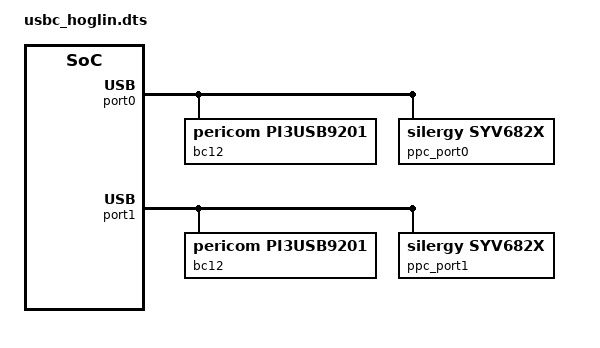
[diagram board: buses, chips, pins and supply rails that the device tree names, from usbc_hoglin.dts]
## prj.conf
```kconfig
# Copyright 2021 The Chromium OS Authors. All rights reserved.
# Use of this source code is governed by a BSD-style license that can be
# found in the LICENSE file.

CONFIG_CROS_EC=y
CONFIG_SHIMMED_TASKS=y
CONFIG_PLATFORM_EC=y
CONFIG_PLATFORM_EC_BRINGUP=y
CONFIG_PLATFORM_EC_EXTPOWER_GPIO=y
CONFIG_PLATFORM_EC_SWITCH=y
CONFIG_PLATFORM_EC_LID_SWITCH=y
CONFIG_PLATFORM_EC_BACKLIGHT_LID=y
CONFIG_PLATFORM_EC_POWER_BUTTON=y
CONFIG_PLATFORM_EC_CBI_GPIO=y
CONFIG_I2C=y
CONFIG_KERNEL_SHELL=y
CONFIG_PLATFORM_EC_BOARD_RESET_AFTER_POWER_ON=y

# Shell history and tab autocompletion (for convenience)
CONFIG_SHELL_HELP=y
CONFIG_SHELL_HISTORY=y
CONFIG_SHELL_TAB=y
CONFIG_SHELL_TAB_AUTOCOMPLETION=y

# Miscellaneous configs
CONFIG_PLATFORM_EC_HIBERNATE_PSL=y

# LED
CONFIG_PLATFORM_EC_LED_COMMON=y

# PWM
CONFIG_PWM=y
CONFIG_PWM_SHELL=n
CONFIG_PLATFORM_EC_PWM=y
CONFIG_PLATFORM_EC_PWM_DISPLIGHT=y
CONFIG_PLATFORM_EC_PWM_KBLIGHT=y

# Application Processor is Qualcomm SC7280
CONFIG_AP_ARM_QUALCOMM_SC7280=y

# GPIO Switchcap
CONFIG_PLATFORM_EC_SWITCHCAP_GPIO=y

# Board version is selected over GPIO board ID pins.
CONFIG_PLATFORM_EC_BOARD_VERSION_GPIO=y

# Power Sequencing
CONFIG_PLATFORM_EC_POWERSEQ=y
CONFIG_PLATFORM_EC_POWERSEQ_HOST_SLEEP=y
CONFIG_PLATFORM_EC_POWERSEQ_PP5000_CONTROL=n
CONFIG_PLATFORM_EC_POWER_SLEEP_FAILURE_DETECTION=y
CONFIG_PLATFORM_EC_CHIPSET_RESET_HOOK=y
CONFIG_PLATFORM_EC_CHIPSET_RESUME_INIT_HOOK=y

# MKBP event mask
CONFIG_PLATFORM_EC_MKBP_EVENT_WAKEUP_MASK=y
CONFIG_PLATFORM_EC_MKBP_HOST_EVENT_WAKEUP_MASK=y

# MKBP event
CONFIG_PLATFORM_EC_MKBP_EVENT=y
CONFIG_PLATFORM_EC_MKBP_USE_GPIO=y

# Keyboard
CONFIG_PLATFORM_EC_KEYBOARD=y
CONFIG_PLATFORM_EC_KEYBOARD_PROTOCOL_MKBP=y
CONFIG_PLATFORM_EC_MKBP_INPUT_DEVICES=y
CONFIG_PLATFORM_EC_KEYBOARD_COL2_INVERTED=y
CONFIG_PLATFORM_EC_KEYBOARD_REFRESH_ROW3=y
CONFIG_PLATFORM_EC_VOLUME_BUTTONS=y
CONFIG_PLATFORM_EC_CMD_BUTTON=y
CONFIG_CROS_KB_RAW_NPCX=y

# ADC
CONFIG_PLATFORM_EC_ADC=y
CONFIG_ADC=y
CONFIG_ADC_SHELL=n

# Battery
CONFIG_PLATFORM_EC_BATTERY=y
CONFIG_PLATFORM_EC_BATTERY_SMART=y
CONFIG_PLATFORM_EC_I2C_VIRTUAL_BATTERY=y
CONFIG_PLATFORM_EC_I2C_PASSTHRU_RESTRICTED=y
CONFIG_PLATFORM_EC_BATTERY_FUEL_GAUGE=y
CONFIG_PLATFORM_EC_BATTERY_CUT_OFF=y
CONFIG_PLATFORM_EC_BATTERY_PRESENT_GPIO=y
CONFIG_PLATFORM_EC_CHARGER_ISL9238=y
CONFIG_PLATFORM_EC_CHARGE_RAMP_HW=y
CONFIG_PLATFORM_EC_USE_BATTERY_DEVICE_CHEMISTRY=y
CONFIG_PLATFORM_EC_BATTERY_DEVICE_CHEMISTRY="LION"
CONFIG_PLATFORM_EC_BATTERY_REVIVE_DISCONNECT=y
CONFIG_PLATFORM_EC_CHARGER_DISCHARGE_ON_AC=y
CONFIG_PLATFORM_EC_CHARGER_DISCHARGE_ON_AC_CHARGER=y
CONFIG_PLATFORM_EC_CHARGER_MIN_BAT_PCT_FOR_POWER_ON=2
CONFIG_PLATFORM_EC_CHARGER_MIN_POWER_MW_FOR_POWER_ON=10000
CONFIG_PLATFORM_EC_CHARGER_PROFILE_OVERRIDE=y
CONFIG_PLATFORM_EC_CHARGER_PSYS=y
CONFIG_PLATFORM_EC_CHARGER_PSYS_READ=y
CONFIG_PLATFORM_EC_CHARGER_SENSE_RESISTOR=10
CONFIG_PLATFORM_EC_CHARGER_SENSE_RESISTOR_AC=20
CONFIG_PLATFORM_EC_CONSOLE_CMD_CHARGER_ADC_AMON_BMON=y

# USB-A
CONFIG_PLATFORM_EC_USB_A_PORT_COUNT=1

# USB-C
CONFIG_PLATFORM_EC_BC12_DETECT_PI3USB9201=y
CONFIG_PLATFORM_EC_USB_PD_USB32_DRD=n
CONFIG_PLATFORM_EC_USBC_PPC_SN5S330=y
CONFIG_PLATFORM_EC_USBC_PPC_SYV682C=y
CONFIG_PLATFORM_EC_USBC_PPC_SYV682X=y
CONFIG_PLATFORM_EC_USBC_RETIMER_FW_UPDATE=n
CONFIG_PLATFORM_EC_USBC_SS_MUX_DFP_ONLY=y
CONFIG_PLATFORM_EC_USB_DRP_ACC_TRYSRC=y
CONFIG_PLATFORM_EC_USB_PD_5V_EN_CUSTOM=y
CONFIG_PLATFORM_EC_USB_PD_VBUS_DETECT_TCPC=y
CONFIG_PLATFORM_EC_USB_PD_DISCHARGE_PPC=y
CONFIG_PLATFORM_EC_USB_PD_PORT_MAX_COUNT=2
CONFIG_PLATFORM_EC_USB_PD_REV30=n
CONFIG_PLATFORM_EC_USB_PD_TCPC_LOW_POWER=y
CONFIG_PLATFORM_EC_USB_PD_TCPM_PS8805=y
CONFIG_PLATFORM_EC_USB_PD_TCPC_RUNTIME_CONFIG=n
CONFIG_PLATFORM_EC_USB_MUX_RUNTIME_CONFIG=n
CONFIG_PLATFORM_EC_USB_PD_LOGGING=y
CONFIG_PLATFORM_EC_USB_PORT_POWER_DUMB=y
CONFIG_PLATFORM_EC_USB_PD_VBUS_MEASURE_ADC_EACH_PORT=y

# USB ID
# This is allocated specifically for Herobrine
# http://google3/hardware/standards/usb/
# TODO(b/183608112): Move to device tree
CONFIG_PLATFORM_EC_USB_PID=0x5055

# RTC
CONFIG_PLATFORM_EC_RTC=y
CONFIG_CROS_RTC_NXP_PCF85063A=y
CONFIG_PLATFORM_EC_HOSTCMD_RTC=y
CONFIG_PLATFORM_EC_CONSOLE_CMD_RTC=y
CONFIG_PLATFORM_EC_CONSOLE_CMD_RTC_ALARM=y

# EC software sync
CONFIG_PLATFORM_EC_VBOOT_HASH=y

# Sensors
CONFIG_PLATFORM_EC_MOTIONSENSE=y
CONFIG_PLATFORM_EC_ACCEL_FIFO=y
CONFIG_PLATFORM_EC_ACCEL_INTERRUPTS=y
CONFIG_PLATFORM_EC_CONSOLE_CMD_ACCELS=y
CONFIG_PLATFORM_EC_CONSOLE_CMD_ACCEL_INFO=y
CONFIG_PLATFORM_EC_GMR_TABLET_MODE=y
CONFIG_PLATFORM_EC_LID_ANGLE=y
CONFIG_PLATFORM_EC_LID_ANGLE_UPDATE=y
CONFIG_PLATFORM_EC_SENSOR_TIGHT_TIMESTAMPS=y
CONFIG_PLATFORM_EC_TABLET_MODE=y
CONFIG_PLATFORM_EC_TABLET_MODE_SWITCH=y

# Sensor Drivers
CONFIG_PLATFORM_EC_ACCEL_BMA255=y
CONFIG_PLATFORM_EC_ACCELGYRO_BMI260=y
CONFIG_PLATFORM_EC_ACCELGYRO_BMI_COMM_I2C=y

CONFIG_SYSCON=y

# Features should be enabled. But the code RAM is not enough, disable them.
#CONFIG_PLATFORM_EC_ACCEL_SPOOF_MODE=y
#CONFIG_PLATFORM_EC_EMULATED_SYSRQ=y
```

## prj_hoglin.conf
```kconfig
# Copyright 2022 The Chromium OS Authors. All rights reserved.
# Use of this source code is governed by a BSD-style license that can be
# found in the LICENSE file.

# Hoglin reference-board-specific Kconfig settings.
CONFIG_BOARD_HOGLIN=y
CONFIG_PLATFORM_EC_ACCEL_BMA255=n
CONFIG_PLATFORM_EC_ACCEL_BMA4XX=y
# TODO(b:193719620): Enable EC EFS2.
#CONFIG_PLATFORM_EC_VBOOT_EFS2=n
```

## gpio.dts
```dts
/* Copyright 2021 The Chromium OS Authors. All rights reserved.
 * Use of this source code is governed by a BSD-style license that can be
 * found in the LICENSE file.
 */

/ {
	named-gpios {
		compatible = "named-gpios";

		usb_c0_pd_int_odl {
			gpios = <&gpioe 0 GPIO_INPUT>;
			enum-name = "GPIO_USB_C0_PD_INT_ODL";
		};
		usb_c1_pd_int_odl {
			gpios = <&gpiof 5 GPIO_INPUT>;
			enum-name = "GPIO_USB_C1_PD_INT_ODL";
		};
		usb_c0_swctl_int_odl {
			gpios = <&gpio0 3 GPIO_INPUT>;
			enum-name = "GPIO_USB_C0_SWCTL_INT_ODL";
		};
		usb_c1_swctl_int_odl {
			gpios = <&gpio4 0 GPIO_INPUT>;
			enum-name = "GPIO_USB_C1_SWCTL_INT_ODL";
		};
		gpio_usb_c0_bc12_int_l: usb_c0_bc12_int_l {
			gpios = <&gpio6 1 GPIO_INPUT_PULL_UP>;
			enum-name = "GPIO_USB_C0_BC12_INT_L";
		};
		gpio_usb_c1_bc12_int_l: usb_c1_bc12_int_l {
			gpios = <&gpio8 2 GPIO_INPUT_PULL_UP>;
			enum-name = "GPIO_USB_C1_BC12_INT_L";
		};
		usb_a0_oc_odl {
			gpios = <&gpiof 4 GPIO_INPUT_PULL_UP>;
			enum-name = "GPIO_USB_A0_OC_ODL";
		};
		gpio_chg_acok_od: chg_acok_od {
			gpios = <&gpiod 2 GPIO_INPUT>;
			enum-name = "GPIO_AC_PRESENT";
		};
		gpio_ec_pwr_btn_odl: ec_pwr_btn_odl {
			gpios = <&gpio0 0 GPIO_INPUT>;
			enum-name = "GPIO_POWER_BUTTON_L";
		};
		ec_voldn_btn_odl {
			gpios = <&gpio6 2 GPIO_INPUT_PULL_UP>;
			enum-name = "GPIO_VOLUME_DOWN_L";
		};
		ec_volup_btn_odl {
			gpios = <&gpioc 2 GPIO_INPUT_PULL_UP>;
			enum-name = "GPIO_VOLUME_UP_L";
		};
		ec_wp_odl {
			gpios = <&gpiod 3 GPIO_INPUT>;
			enum-name = "GPIO_WP_L";
		};
		gpio_lid_open_ec: lid_open_ec {
			gpios = <&gpio0 1 GPIO_INPUT>;
			enum-name = "GPIO_LID_OPEN";
		};
		ap_rst_l {
			gpios = <&gpio5 1 GPIO_INPUT>;
			enum-name = "GPIO_AP_RST_L";
		};
		ps_hold {
			gpios = <&gpioa 6 GPIO_INPUT_PULL_DOWN>;
			enum-name = "GPIO_PS_HOLD";
		};
		ap_suspend {
			gpios = <&gpio5 7 GPIO_INPUT>;
			enum-name = "GPIO_AP_SUSPEND";
		};
		mb_power_good {
			gpios = <&gpio3 7 GPIO_INPUT_PULL_DOWN>;
			enum-name = "GPIO_POWER_GOOD";
		};
		warm_reset_l {
			gpios = <&gpiob 0 GPIO_INPUT>;
			enum-name = "GPIO_WARM_RESET_L";
		};
		ap_ec_spi_cs_l {
			gpios = <&gpio5 3 GPIO_INPUT_PULL_DOWN>;
		};
		tablet_mode_l {
			gpios = <&gpioc 6 GPIO_INPUT>;
			enum-name = "GPIO_TABLET_MODE_L";
		};
		gpio_accel_gyro_int_l: accel_gyro_int_l {
			gpios = <&gpioa 3 GPIO_INPUT>;
			enum-name = "GPIO_ACCEL_GYRO_INT_L";
		};
		gpio_rtc_ec_wake_odl: rtc_ec_wake_odl {
			gpios = <&gpio0 2 GPIO_INPUT>;
			enum-name = "GPIO_EC_RST_ODL";
		};
		ec_entering_rw {
			gpios = <&gpio7 2 GPIO_OUT_LOW>;
			enum-name = "GPIO_ENTERING_RW";
		};
		ccd_mode_odl {
			gpios = <&gpio6 3 GPIO_INPUT>;
			enum-name = "GPIO_CCD_MODE_ODL";
		};
		ec_batt_pres_odl {
			gpios = <&gpioe 5 GPIO_INPUT>;
			enum-name = "GPIO_BATT_PRES_ODL";
		};
		ec_gsc_packet_mode {
			gpios = <&gpio8 3 GPIO_OUT_LOW>;
			enum-name = "GPIO_PACKET_MODE_EN";
		};
		pmic_resin_l {
			gpios = <&gpioa 0 GPIO_ODR_HIGH>;
			enum-name = "GPIO_PMIC_RESIN_L";
		};
		pmic_kpd_pwr_odl {
			gpios = <&gpioa 2 GPIO_ODR_HIGH>;
			enum-name = "GPIO_PMIC_KPD_PWR_ODL";
		};
		ap_ec_int_l {
			gpios = <&gpio5 6 GPIO_ODR_HIGH>;
			enum-name = "GPIO_EC_INT_L";
		};
		gpio_switchcap_on: switchcap_on {
			gpios = <&gpiod 5 GPIO_OUT_LOW>;
			enum-name = "GPIO_SWITCHCAP_ON";
		};
		en_pp5000_s5 {
			gpios = <&gpio7 3 GPIO_OUT_HIGH>;
			enum-name = "GPIO_EN_PP5000";
		};
		ec_bl_disable_l {
			/* The PMIC controls backlight enable and this pin must
			 * be HiZ for normal operation. But the backlight can
			 * be enabled by setting this pin low and configuring it
			 * as an output.
			 */
			gpios = <&gpiob 6 GPIO_INPUT>;
			enum-name = "GPIO_ENABLE_BACKLIGHT";
		};
		lid_accel_int_l {
			gpios = <&gpioa 1 GPIO_INPUT>;
			enum-name = "GPIO_LID_ACCEL_INT_L";
		};
		tp_int_gate {
			gpios = <&gpio7 4 GPIO_OUT_LOW>;
			enum-name = "GPIO_TRACKPAD_INT_GATE";
		};
		usb_c0_pd_rst_l {
			gpios = <&gpiof 1 GPIO_OUT_HIGH>;
			enum-name = "GPIO_USB_C0_PD_RST_L";
		};
		usb_c1_pd_rst_l {
			gpios = <&gpioe 4 GPIO_OUT_HIGH>;
			enum-name = "GPIO_USB_C1_PD_RST_L";
		};
		dp_mux_oe_l {
			gpios = <&gpiob 1 GPIO_ODR_HIGH>;
			enum-name = "GPIO_DP_MUX_OE_L";
		};
		dp_mux_sel {
			gpios = <&gpio4 5 GPIO_OUT_LOW>;
			enum-name = "GPIO_DP_MUX_SEL";
		};
		dp_hot_plug_det_r {
			gpios = <&gpio9 5 GPIO_OUT_LOW>;
			enum-name = "GPIO_DP_HOT_PLUG_DET";
		};
		en_usb_a_5v {
			gpios = <&gpiof 0 GPIO_OUT_LOW>;
			enum-name = "GPIO_EN_USB_A_5V";
		};
		usb_a_cdp_ilim_en_l {
			gpios = <&gpio7 5 GPIO_OUT_HIGH>;
		};
		usb_c0_frs_en {
			gpios = <&gpioc 5 GPIO_OUT_LOW>;
			enum-name = "GPIO_USB_C0_FRS_EN";
		};
		usb_c1_frs_en {
			gpios = <&gpioc 1 GPIO_OUT_LOW>;
			enum-name = "GPIO_USB_C1_FRS_EN";
		};
		ec_chg_led_y_c0 {
			gpios = <&gpio6 0 GPIO_OUT_LOW>;
			enum-name = "GPIO_EC_CHG_LED_Y_C0";
		};
		ec_chg_led_w_c0 {
			gpios = <&gpioc 0 GPIO_OUT_LOW>;
			enum-name = "GPIO_EC_CHG_LED_W_C0";
		};
		ec_chg_led_y_c1 {
			gpios = <&gpioc 3 GPIO_OUT_LOW>;
			enum-name = "GPIO_EC_CHG_LED_Y_C1";
		};
		ec_chg_led_w_c1 {
			gpios = <&gpioc 4 GPIO_OUT_LOW>;
			enum-name = "GPIO_EC_CHG_LED_W_C1";
		};
		ap_ec_spi_mosi {
			gpios = <&gpio4 6 GPIO_INPUT_PULL_DOWN>;
		};
		ap_ec_spi_miso {
			gpios = <&gpio4 7 GPIO_INPUT_PULL_DOWN>;
		};
		ap_ec_spi_clk {
			gpios = <&gpio5 5 GPIO_INPUT_PULL_DOWN>;
		};
		gpio_brd_id0: brd_id0 {
			gpios = <&gpio9 4 GPIO_INPUT>;
			enum-name = "GPIO_BOARD_VERSION1";
		};
		gpio_brd_id1: brd_id1 {
			gpios = <&gpio9 7 GPIO_INPUT>;
			enum-name = "GPIO_BOARD_VERSION2";
		};
		gpio_brd_id2: brd_id2 {
			gpios = <&gpioa 5 GPIO_INPUT>;
			enum-name = "GPIO_BOARD_VERSION3";
		};
		gpio_sku_id0: sku_id0 {
			gpios = <&gpio6 7 GPIO_INPUT>;
			enum-name = "GPIO_SKU_ID0";
		};
		gpio_sku_id1: sku_id1 {
			gpios = <&gpio7 0 GPIO_INPUT>;
			enum-name = "GPIO_SKU_ID1";
		};
		gpio_sku_id2: sku_id2 {
			gpios = <&gpioe 1 GPIO_INPUT>;
			enum-name = "GPIO_SKU_ID2";
		};
		gpio_switchcap_pg: src_vph_pwr_pg {
			gpios = <&gpioe 2 GPIO_INPUT_PULL_DOWN>;
			enum-name = "GPIO_SWITCHCAP_PG";
		};
		arm_x86 {
			gpios = <&gpio6 6 GPIO_OUT_LOW>;
		};
		ec_kso_02_inv {
			gpios = <&gpio1 7 GPIO_OUT_LOW>;
			enum-name = "GPIO_KBD_KSO2";
		};
	};

	def-lvol-io-list {
		compatible = "nuvoton,npcx-lvolctrl-def";
		lvol-io-pads = <
			&lvol_iob3 /* EC_I2C_SENSOR_SCL */
			&lvol_iob2 /* EC_I2C_SENSOR_SDA */
		>;
	};

	hibernate-wake-pins {
		compatible = "cros-ec,hibernate-wake-pins";
		wakeup-pins = <
			&gpio_chg_acok_od
			&gpio_ec_pwr_btn_odl
			&gpio_lid_open_ec
			&gpio_rtc_ec_wake_odl
		>;
	};

	vsby-psl-in-list {
		/* Use PSL_IN1/2/3/4 as detection pins from hibernate mode */
		psl-in-pads = <&psl_in1 &psl_in2 &psl_in3 &psl_in4>;
	};

	sku {
		compatible = "cros-ec,gpio-id";

		bits  = <
			&gpio_sku_id0
			&gpio_sku_id1
			&gpio_sku_id2
		>;

		system = "ternary";
	};

	board {
		compatible = "cros-ec,gpio-id";

		bits  = <
			&gpio_brd_id0
			&gpio_brd_id1
			&gpio_brd_id2
		>;

		system = "ternary";
	};

	unused-pins {
		compatible = "unused-gpios";
		unused-gpios =
			<&gpio5 2 0>,
			<&gpio5 4 0>,
			<&gpio7 6 0>,
			<&gpiod 1 0>,
			<&gpiod 0 0>,
			<&gpioe 3 0>,
			<&gpio0 4 0>,
			<&gpiod 6 0>,
			<&gpio3 2 0>,
			<&gpio3 5 0>,
			<&gpiod 7 0>,
			<&gpio8 6 0>,
			<&gpiod 4 0>,
			<&gpio4 1 0>,
			<&gpio3 4 0>,
			<&gpioc 7 0>,
			<&gpioa 4 0>,
			<&gpio9 6 0>,
			<&gpio9 3 0>,
			<&gpioa 7 0>,
			<&gpio5 0 0>,
			<&gpio8 1 0>,
			<&gpiob 7 0>;
	};
};

/* Power switch logic input pads */
&psl_in1 {
	/* ACOK_OD */
	flag = <NPCX_PSL_RISING_EDGE>;
};

&psl_in2 {
	/* EC_PWR_BTN_ODL */
	flag = <NPCX_PSL_FALLING_EDGE>;
};

&psl_in3 {
	/* LID_OPEN_EC */
	flag = <NPCX_PSL_RISING_EDGE>;
};

&psl_in4 {
	/* RTC_EC_WAKE_ODL */
	flag = <NPCX_PSL_FALLING_EDGE>;
};
```

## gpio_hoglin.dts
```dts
/* Copyright 2022 The Chromium OS Authors. All rights reserved.
 * Use of this source code is governed by a BSD-style license that can be
 * found in the LICENSE file.
 */

/ {
	named-gpios {
		compatible = "named-gpios";

		gpio_usb_c0_pd_int_odl: usb_c0_pd_int_odl {
			#gpio-cells = <0>;
			gpios = <&gpioe 0 GPIO_INPUT>;
			enum-name = "GPIO_USB_C0_PD_INT_ODL";
		};
		gpio_usb_c1_pd_int_odl: usb_c1_pd_int_odl {
			#gpio-cells = <0>;
			gpios = <&gpiof 5 GPIO_INPUT>;
			enum-name = "GPIO_USB_C1_PD_INT_ODL";
		};
		gpio_usb_c0_swctl_int_odl: usb_c0_swctl_int_odl {
			#gpio-cells = <0>;
			gpios = <&gpio0 3 GPIO_INPUT>;
			enum-name = "GPIO_USB_C0_SWCTL_INT_ODL";
		};
		gpio_usb_c1_swctl_int_odl: usb_c1_swctl_int_odl {
			#gpio-cells = <0>;
			gpios = <&gpio4 0 GPIO_INPUT>;
			enum-name = "GPIO_USB_C1_SWCTL_INT_ODL";
		};
		gpio_usb_c0_bc12_int_l: usb_c0_bc12_int_l {
			#gpio-cells = <0>;
			gpios = <&gpio6 1 GPIO_INPUT_PULL_UP>;
			enum-name = "GPIO_USB_C0_BC12_INT_L";
		};
		gpio_usb_c1_bc12_int_l: usb_c1_bc12_int_l {
			#gpio-cells = <0>;
			gpios = <&gpio8 2 GPIO_INPUT_PULL_UP>;
			enum-name = "GPIO_USB_C1_BC12_INT_L";
		};
		gpio_usb_a0_oc_odl: usb_a0_oc_odl {
			#gpio-cells = <0>;
			gpios = <&gpiof 4 GPIO_INPUT_PULL_UP>;
			enum-name = "GPIO_USB_A0_OC_ODL";
		};
		gpio_chg_acok_od: chg_acok_od {
			#gpio-cells = <0>;
			gpios = <&gpiod 2 GPIO_INPUT>;
			enum-name = "GPIO_AC_PRESENT";
		};
		gpio_ec_pwr_btn_odl: ec_pwr_btn_odl {
			#gpio-cells = <0>;
			gpios = <&gpio0 0 GPIO_INPUT>;
			enum-name = "GPIO_POWER_BUTTON_L";
		};
		gpio_ec_voldn_btn_odl: ec_voldn_btn_odl {
			#gpio-cells = <0>;
			gpios = <&gpio6 2 GPIO_INPUT_PULL_UP>;
			enum-name = "GPIO_VOLUME_DOWN_L";
		};
		gpio_ec_volup_btn_odl: ec_volup_btn_odl {
			#gpio-cells = <0>;
			gpios = <&gpioc 2 GPIO_INPUT_PULL_UP>;
			enum-name = "GPIO_VOLUME_UP_L";
		};
		gpio_ec_wp_odl: ec_wp_odl {
			#gpio-cells = <0>;
			gpios = <&gpiod 3 GPIO_INPUT>;
			enum-name = "GPIO_WP_L";
		};
		gpio_lid_open_ec: lid_open_ec {
			#gpio-cells = <0>;
			gpios = <&gpio0 1 GPIO_INPUT>;
			enum-name = "GPIO_LID_OPEN";
		};
		gpio_ap_rst_l: ap_rst_l {
			#gpio-cells = <0>;
			gpios = <&gpio5 1 GPIO_INPUT>;
			enum-name = "GPIO_AP_RST_L";
		};
		gpio_ps_hold: ps_hold {
			#gpio-cells = <0>;
			gpios = <&gpioa 6 GPIO_INPUT_PULL_DOWN>;
			enum-name = "GPIO_PS_HOLD";
		};
		gpio_ap_suspend: ap_suspend {
			#gpio-cells = <0>;
			gpios = <&gpio5 7 GPIO_INPUT>;
			enum-name = "GPIO_AP_SUSPEND";
		};
		gpio_mb_power_good: mb_power_good {
			#gpio-cells = <0>;
			gpios = <&gpio3 7 GPIO_INPUT_PULL_DOWN>;
			enum-name = "GPIO_POWER_GOOD";
		};
		gpio_warm_reset_l: warm_reset_l {
			#gpio-cells = <0>;
			gpios = <&gpiob 0 GPIO_INPUT>;
			enum-name = "GPIO_WARM_RESET_L";
		};
		ap_ec_spi_cs_l {
			gpios = <&gpio5 3 GPIO_INPUT_PULL_DOWN>;
		};
		gpio_tablet_mode_l: tablet_mode_l {
			#gpio-cells = <0>;
			gpios = <&gpioc 6 GPIO_INPUT>;
			enum-name = "GPIO_TABLET_MODE_L";
		};
		gpio_accel_gyro_int_l: accel_gyro_int_l {
			#gpio-cells = <0>;
			gpios = <&gpioa 3 GPIO_INPUT>;
			enum-name = "GPIO_ACCEL_GYRO_INT_L";
		};
		gpio_rtc_ec_wake_odl: rtc_ec_wake_odl {
			#gpio-cells = <0>;
			gpios = <&gpio0 2 GPIO_INPUT>;
			enum-name = "GPIO_EC_RST_ODL";
		};
		ec_entering_rw {
			gpios = <&gpio7 2 GPIO_OUT_LOW>;
			enum-name = "GPIO_ENTERING_RW";
		};
		ccd_mode_odl {
			gpios = <&gpio6 3 GPIO_INPUT>;
			enum-name = "GPIO_CCD_MODE_ODL";
		};
		ec_batt_pres_odl {
			gpios = <&gpioe 5 GPIO_INPUT>;
			enum-name = "GPIO_BATT_PRES_ODL";
		};
		ec_gsc_packet_mode {
			gpios = <&gpio8 3 GPIO_OUT_LOW>;
			enum-name = "GPIO_PACKET_MODE_EN";
		};
		pmic_resin_l {
			gpios = <&gpioa 0 GPIO_ODR_HIGH>;
			enum-name = "GPIO_PMIC_RESIN_L";
		};
		pmic_kpd_pwr_odl {
			gpios = <&gpioa 2 GPIO_ODR_HIGH>;
			enum-name = "GPIO_PMIC_KPD_PWR_ODL";
		};
		ap_ec_int_l {
			gpios = <&gpio5 6 GPIO_ODR_HIGH>;
			enum-name = "GPIO_EC_INT_L";
		};
		gpio_switchcap_on: switchcap_on {
			gpios = <&gpio5 0 GPIO_OUT_HIGH>;
			enum-name = "GPIO_SWITCHCAP_ON";
		};
		en_pp5000_s5 {
			gpios = <&gpio7 3 GPIO_OUT_HIGH>;
			enum-name = "GPIO_EN_PP5000";
		};
		ec_bl_disable_l {
			/* The PMIC controls backlight enable and this pin must
			 * be HiZ for normal operation. But the backlight can
			 * be enabled by setting this pin low and configuring it
			 * as an output.
			 */
			gpios = <&gpiob 6 GPIO_INPUT>;
			enum-name = "GPIO_ENABLE_BACKLIGHT";
		};
		lid_accel_int_l {
			gpios = <&gpioa 1 GPIO_INPUT>;
			enum-name = "GPIO_LID_ACCEL_INT_L";
		};
		tp_int_gate {
			gpios = <&gpio7 4 GPIO_OUT_LOW>;
			enum-name = "GPIO_TRACKPAD_INT_GATE";
		};
		usb_c0_pd_rst_l {
			gpios = <&gpiof 1 GPIO_OUT_HIGH>;
			enum-name = "GPIO_USB_C0_PD_RST_L";
		};
		usb_c1_pd_rst_l {
			gpios = <&gpioe 4 GPIO_OUT_HIGH>;
			enum-name = "GPIO_USB_C1_PD_RST_L";
		};
		dp_mux_oe_l {
			gpios = <&gpiob 1 GPIO_ODR_HIGH>;
			enum-name = "GPIO_DP_MUX_OE_L";
		};
		dp_mux_sel {
			gpios = <&gpio4 5 GPIO_OUT_LOW>;
			enum-name = "GPIO_DP_MUX_SEL";
		};
		dp_hot_plug_det_r {
			gpios = <&gpio9 5 GPIO_OUT_LOW>;
			enum-name = "GPIO_DP_HOT_PLUG_DET";
		};
		en_usb_a_5v {
			gpios = <&gpiof 0 GPIO_OUT_LOW>;
			enum-name = "GPIO_EN_USB_A_5V";
		};
		usb_a_cdp_ilim_en_l {
			gpios = <&gpio7 5 GPIO_OUT_HIGH>;
		};
		usb_c0_frs_en {
			gpios = <&gpioc 5 GPIO_OUT_LOW>;
			enum-name = "GPIO_USB_C0_FRS_EN";
		};
		usb_c1_frs_en {
			gpios = <&gpioc 1 GPIO_OUT_LOW>;
			enum-name = "GPIO_USB_C1_FRS_EN";
		};
		ec_chg_led_y_c0 {
			gpios = <&gpio6 0 GPIO_OUT_LOW>;
			enum-name = "GPIO_EC_CHG_LED_Y_C0";
		};
		ec_chg_led_w_c0 {
			gpios = <&gpioc 0 GPIO_OUT_LOW>;
			enum-name = "GPIO_EC_CHG_LED_W_C0";
		};
		ec_chg_led_y_c1 {
			gpios = <&gpioc 3 GPIO_OUT_LOW>;
			enum-name = "GPIO_EC_CHG_LED_Y_C1";
		};
		ec_chg_led_w_c1 {
			gpios = <&gpioc 4 GPIO_OUT_LOW>;
			enum-name = "GPIO_EC_CHG_LED_W_C1";
		};
		ap_ec_spi_mosi {
			gpios = <&gpio4 6 GPIO_INPUT_PULL_DOWN>;
		};
		ap_ec_spi_miso {
			gpios = <&gpio4 7 GPIO_INPUT_PULL_DOWN>;
		};
		ap_ec_spi_clk {
			gpios = <&gpio5 5 GPIO_INPUT_PULL_DOWN>;
		};
		gpio_brd_id0: brd_id0 {
			gpios = <&gpio9 4 GPIO_INPUT>;
			enum-name = "GPIO_BOARD_VERSION1";
		};
		gpio_brd_id1: brd_id1 {
			gpios = <&gpio9 7 GPIO_INPUT>;
			enum-name = "GPIO_BOARD_VERSION2";
		};
		gpio_brd_id2: brd_id2 {
			gpios = <&gpioa 5 GPIO_INPUT>;
			enum-name = "GPIO_BOARD_VERSION3";
		};
		gpio_sku_id0: sku_id0 {
			gpios = <&gpio6 7 GPIO_INPUT>;
			enum-name = "GPIO_SKU_ID0";
		};
		gpio_sku_id1: sku_id1 {
			gpios = <&gpio7 0 GPIO_INPUT>;
			enum-name = "GPIO_SKU_ID1";
		};
		gpio_sku_id2: sku_id2 {
			gpios = <&gpioe 1 GPIO_INPUT>;
			enum-name = "GPIO_SKU_ID2";
		};
		gpio_switchcap_pg: src_vph_pwr_pg {
			gpios = <&gpioe 2 GPIO_INPUT_PULL_DOWN>;
			enum-name = "GPIO_SWITCHCAP_PG";
		};
		arm_x86 {
			gpios = <&gpio6 6 GPIO_OUT_LOW>;
		};
		ec_kso_02_inv {
			gpios = <&gpio1 7 GPIO_OUT_LOW>;
			enum-name = "GPIO_KBD_KSO2";
		};
	};

	def-lvol-io-list {
		compatible = "nuvoton,npcx-lvolctrl-def";
		lvol-io-pads = <
			&lvol_iob3 /* EC_I2C_SENSOR_SCL */
			&lvol_iob2 /* EC_I2C_SENSOR_SDA */
		>;
	};

	hibernate-wake-pins {
		compatible = "cros-ec,hibernate-wake-pins";
		wakeup-pins = <
			&gpio_chg_acok_od
			&gpio_ec_pwr_btn_odl
			&gpio_lid_open_ec
			&gpio_rtc_ec_wake_odl
		>;
	};

	vsby-psl-in-list {
		/* Use PSL_IN1/2/3/4 as detection pins from hibernate mode */
		psl-in-pads = <&psl_in1 &psl_in2 &psl_in3 &psl_in4>;
	};

	sku {
		compatible = "cros-ec,gpio-id";

		bits  = <
			&gpio_sku_id0
			&gpio_sku_id1
			&gpio_sku_id2
		>;

		system = "ternary";
	};

	board {
		compatible = "cros-ec,gpio-id";

		bits  = <
			&gpio_brd_id0
			&gpio_brd_id1
			&gpio_brd_id2
		>;

		system = "ternary";
	};

	unused-pins {
		compatible = "unused-gpios";
		unused-gpios =
			<&gpio5 2 0>,
			<&gpio5 4 0>,
			<&gpio7 6 0>,
			<&gpiod 1 0>,
			<&gpiod 0 0>,
			<&gpioe 3 0>,
			<&gpio0 4 0>,
			<&gpiod 6 0>,
			<&gpio3 2 0>,
			<&gpio3 5 0>,
			<&gpiod 7 0>,
			<&gpio8 6 0>,
			<&gpiod 4 0>,
			<&gpio4 1 0>,
			<&gpio3 4 0>,
			<&gpioc 7 0>,
			<&gpioa 4 0>,
			<&gpio9 6 0>,
			<&gpio9 3 0>,
			<&gpioa 7 0>,
			<&gpiod 5 0>,
			<&gpio8 1 0>,
			<&gpiob 7 0>;
	};
};

/* Power switch logic input pads */
&psl_in1 {
	/* ACOK_OD */
	flag = <NPCX_PSL_RISING_EDGE>;
};

&psl_in2 {
	/* EC_PWR_BTN_ODL */
	flag = <NPCX_PSL_FALLING_EDGE>;
};

&psl_in3 {
	/* LID_OPEN_EC */
	flag = <NPCX_PSL_RISING_EDGE>;
};

&psl_in4 {
	/* RTC_EC_WAKE_ODL */
	flag = <NPCX_PSL_FALLING_EDGE>;
};
```

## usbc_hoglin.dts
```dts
/* Copyright 2022 The Chromium OS Authors. All rights reserved.
 * Use of this source code is governed by a BSD-style license that can be
 * found in the LICENSE file.
 */

/ {
	usbc {
		compatible = "named-usbc-ports";
		#address-cells = <1>;
		#size-cells = <0>;
		port0: usbc-port@0 {
			reg = <0>;
			bc12 {
				compatible = "pericom,pi3usb9201";
				status = "okay";
				irq = <&int_usb_c0_bc12>;
				port = <&i2c_power>;
				i2c-addr-flags = "PI3USB9201_I2C_ADDR_3_FLAGS";
			};
			ppc_port0: ppc {
				compatible = "silergy,syv682x";
				status = "okay";
				port = <&i2c_tcpc0>;
				i2c-addr-flags = "SYV682X_ADDR1_FLAGS";
			};
		};

		port1: usbc-port@1 {
			reg = <1>;
			bc12 {
				compatible = "pericom,pi3usb9201";
				status = "okay";
				irq = <&int_usb_c1_bc12>;
				port = <&i2c_eeprom>;
				i2c-addr-flags = "PI3USB9201_I2C_ADDR_2_FLAGS";
			};
			ppc_port1: ppc {
				compatible = "silergy,syv682x";
				status = "okay";
				port = <&i2c_tcpc1>;
				i2c-addr-flags = "SYV682X_ADDR1_FLAGS";
			};
		};
	};
};
```

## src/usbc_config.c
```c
/* Copyright 2021 The Chromium OS Authors. All rights reserved.
 * Use of this source code is governed by a BSD-style license that can be
 * found in the LICENSE file.
 */

/* Herobrine board-specific USB-C configuration */

#include "adc.h"
#include "charger.h"
#include "charger/isl923x_public.h"
#include "charge_manager.h"
#include "charge_state.h"
#include "common.h"
#include "config.h"
#include "cros_board_info.h"
#include "gpio.h"
#include "gpio/gpio_int.h"
#include "hooks.h"
#include "ppc/sn5s330_public.h"
#include "ppc/syv682x_public.h"
#include "system.h"
#include "tcpm/ps8xxx_public.h"
#include "tcpm/tcpci.h"
#include "timer.h"
#include "usb_pd.h"
#include "usb_mux.h"
#include "usbc_ocp.h"
#include "usbc_ppc.h"
#include "usbc/ppc.h"

#define CPRINTS(format, args...) cprints(CC_USBCHARGE, format, ## args)
#define CPRINTF(format, args...) cprintf(CC_USBCHARGE, format, ## args)


/* GPIO Interrupt Handlers */
void tcpc_alert_event(enum gpio_signal signal)
{
	int port = -1;

	switch (signal) {
	case GPIO_USB_C0_PD_INT_ODL:
		port = 0;
		break;
	case GPIO_USB_C1_PD_INT_ODL:
		port = 1;
		break;
	default:
		return;
	}

	schedule_deferred_pd_interrupt(port);
}

static void usba_oc_deferred(void)
{
	/* Use next number after all USB-C ports to indicate the USB-A port */
	board_overcurrent_event(CONFIG_USB_PD_PORT_MAX_COUNT,
				!gpio_get_level(GPIO_USB_A0_OC_ODL));
}
DECLARE_DEFERRED(usba_oc_deferred);

void usba_oc_interrupt(enum gpio_signal signal)
{
	hook_call_deferred(&usba_oc_deferred_data, 0);
}

void ppc_interrupt(enum gpio_signal signal)
{
	switch (signal) {
	case GPIO_USB_C0_SWCTL_INT_ODL:
		ppc_chips[0].drv->interrupt(0);
		break;

	case GPIO_USB_C1_SWCTL_INT_ODL:
		ppc_chips[1].drv->interrupt(1);
		break;

	default:
		break;
	}
}

const struct charger_config_t chg_chips[] = {
	{
		.i2c_port = I2C_PORT_CHARGER,
		.i2c_addr_flags = ISL923X_ADDR_FLAGS,
		.drv = &isl923x_drv,
	},
};

int charger_profile_override(struct charge_state_data *curr)
{
	int usb_mv;
	int port;

	if (curr->state != ST_CHARGE)
		return 0;

	/* Lower the max requested voltage to 5V when battery is full. */
	if (chipset_in_state(CHIPSET_STATE_ANY_OFF) &&
	    !(curr->batt.flags & BATT_FLAG_BAD_STATUS) &&
	    !(curr->batt.flags & BATT_FLAG_WANT_CHARGE) &&
	    (curr->batt.status & STATUS_FULLY_CHARGED))
		usb_mv = 5000;
	else
		usb_mv = PD_MAX_VOLTAGE_MV;

	if (pd_get_max_voltage() != usb_mv) {
		CPRINTS("VBUS limited to %dmV", usb_mv);
		for (port = 0; port < CONFIG_USB_PD_PORT_MAX_COUNT; port++)
			pd_set_external_voltage_limit(port, usb_mv);
	}

	return 0;
}

enum ec_status charger_profile_override_get_param(uint32_t param,
						  uint32_t *value)
{
	return EC_RES_INVALID_PARAM;
}

enum ec_status charger_profile_override_set_param(uint32_t param,
						  uint32_t value)
{
	return EC_RES_INVALID_PARAM;
}

/* TCPC mux configuration */
const struct tcpc_config_t tcpc_config[CONFIG_USB_PD_PORT_MAX_COUNT] = {
	{
		.bus_type = EC_BUS_TYPE_I2C,
		.i2c_info = {
			.port = I2C_PORT_TCPC0,
			#ifdef CONFIG_BOARD_HOGLIN
			.addr_flags = PS8751_I2C_ADDR2_FLAGS,
			#else
			.addr_flags = PS8751_I2C_ADDR1_FLAGS,
			#endif
		},
		.drv = &ps8xxx_tcpm_drv,
	},
	{
		.bus_type = EC_BUS_TYPE_I2C,
		.i2c_info = {
			.port = I2C_PORT_TCPC1,
			#ifdef CONFIG_BOARD_HOGLIN
			.addr_flags = PS8751_I2C_ADDR2_FLAGS,
			#else
			.addr_flags = PS8751_I2C_ADDR1_FLAGS,
			#endif
		},
		.drv = &ps8xxx_tcpm_drv,
	},
};

/*
 * Port-0/1 USB mux driver.
 *
 * The USB mux is handled by TCPC chip and the HPD update is through a GPIO
 * to AP. But the TCPC chip is also needed to know the HPD status; otherwise,
 * the mux misbehaves.
 */
const struct usb_mux usb_muxes[CONFIG_USB_PD_PORT_MAX_COUNT] = {
	{
		.usb_port = 0,
		.driver = &tcpci_tcpm_usb_mux_driver,
		.hpd_update = &ps8xxx_tcpc_update_hpd_status,
	},
	{
		.usb_port = 1,
		.driver = &tcpci_tcpm_usb_mux_driver,
		.hpd_update = &ps8xxx_tcpc_update_hpd_status,
	}
};

const int usb_port_enable[USB_PORT_COUNT] = {
	GPIO_EN_USB_A_5V,
};

/* Initialize board USC-C things */
static void board_init_usbc(void)
{
	/* Enable USB-A overcurrent interrupt */
	gpio_enable_dt_interrupt(GPIO_INT_FROM_NODELABEL(int_usb_a0_oc));
}
DECLARE_HOOK(HOOK_INIT, board_init_usbc, HOOK_PRIO_DEFAULT);

void board_tcpc_init(void)
{
	/* Only reset TCPC if not sysjump */
	if (!system_jumped_late()) {
		/* TODO(crosbug.com/p/61098): How long do we need to wait? */
		board_reset_pd_mcu();
	}

	/* Enable PPC interrupts */
	gpio_enable_dt_interrupt(GPIO_INT_FROM_NODELABEL(int_usb_c0_swctl));

	/* Enable TCPC interrupts */
	gpio_enable_dt_interrupt(GPIO_INT_FROM_NODELABEL(int_usb_c0_pd));
	gpio_enable_dt_interrupt(GPIO_INT_FROM_NODELABEL(int_usb_c1_pd));

	/*
	 * Initialize HPD to low; after sysjump SOC needs to see
	 * HPD pulse to enable video path
	 */
	for (int port = 0; port < CONFIG_USB_PD_PORT_MAX_COUNT; ++port)
		usb_mux_hpd_update(port, USB_PD_MUX_HPD_LVL_DEASSERTED |
					 USB_PD_MUX_HPD_IRQ_DEASSERTED);
}
DECLARE_HOOK(HOOK_INIT, board_tcpc_init, HOOK_PRIO_INIT_I2C + 1);

void board_reset_pd_mcu(void)
{
	cprints(CC_USB, "Resetting TCPCs...");
	cflush();

	gpio_set_level(GPIO_USB_C0_PD_RST_L, 0);
	gpio_set_level(GPIO_USB_C1_PD_RST_L, 0);
	msleep(PS8XXX_RESET_DELAY_MS);
	gpio_set_level(GPIO_USB_C0_PD_RST_L, 1);
	gpio_set_level(GPIO_USB_C1_PD_RST_L, 1);
	msleep(PS8805_FW_INIT_DELAY_MS);
}

void board_set_tcpc_power_mode(int port, int mode)
{
	/* Ignore the "mode" to turn the chip on.  We can only do a reset. */
	if (mode)
		return;

	board_reset_pd_mcu();
}

int board_vbus_sink_enable(int port, int enable)
{
	/* Both ports are controlled by PPC SN5S330 */
	return ppc_vbus_sink_enable(port, enable);
}

int board_is_sourcing_vbus(int port)
{
	/* Both ports are controlled by PPC SN5S330 */
	return ppc_is_sourcing_vbus(port);
}

void board_overcurrent_event(int port, int is_overcurrented)
{
	/* TODO(b/120231371): Notify AP */
	CPRINTS("p%d: overcurrent!", port);
}

int board_set_active_charge_port(int port)
{
	int is_real_port = (port >= 0 &&
			    port < CONFIG_USB_PD_PORT_MAX_COUNT);
	int i;

	if (!is_real_port && port != CHARGE_PORT_NONE)
		return EC_ERROR_INVAL;

	if (port == CHARGE_PORT_NONE) {
		CPRINTS("Disabling all charging port");

		/* Disable all ports. */
		for (i = 0; i < CONFIG_USB_PD_PORT_MAX_COUNT; i++) {
			/*
			 * Do not return early if one fails otherwise we can
			 * get into a boot loop assertion failure.
			 */
			if (board_vbus_sink_enable(i, 0))
				CPRINTS("Disabling p%d sink path failed.", i);
		}

		return EC_SUCCESS;
	}

	/* Check if the port is sourcing VBUS. */
	if (board_is_sourcing_vbus(port)) {
		CPRINTS("Skip enable p%d", port);
		return EC_ERROR_INVAL;
	}


	CPRINTS("New charge port: p%d", port);

	/*
	 * Turn off the other ports' sink path FETs, before enabling the
	 * requested charge port.
	 */
	for (i = 0; i < CONFIG_USB_PD_PORT_MAX_COUNT; i++) {
		if (i == port)
			continue;

		if (board_vbus_sink_enable(i, 0))
			CPRINTS("p%d: sink path disable failed.", i);
	}

	/* Enable requested charge port. */
	if (board_vbus_sink_enable(port, 1)) {
		CPRINTS("p%d: sink path enable failed.", port);
		return EC_ERROR_UNKNOWN;
	}

	return EC_SUCCESS;
}

void board_set_charge_limit(int port, int supplier, int charge_ma,
			    int max_ma, int charge_mv)
{
	/*
	 * Ignore lower charge ceiling on PD transition if our battery is
	 * critical, as we may brownout.
	 */
	if (supplier == CHARGE_SUPPLIER_PD &&
	    charge_ma < 1500 &&
	    charge_get_percent() < CONFIG_CHARGER_MIN_BAT_PCT_FOR_POWER_ON) {
		CPRINTS("Using max ilim %d", max_ma);
		charge_ma = max_ma;
	}

	charge_set_input_current_limit(MAX(charge_ma,
					   CONFIG_CHARGER_INPUT_CURRENT),
				       charge_mv);
}

uint16_t tcpc_get_alert_status(void)
{
	uint16_t status = 0;

	if (!gpio_get_level(GPIO_USB_C0_PD_INT_ODL))
		if (gpio_get_level(GPIO_USB_C0_PD_RST_L))
			status |= PD_STATUS_TCPC_ALERT_0;
	if (!gpio_get_level(GPIO_USB_C1_PD_INT_ODL))
		if (gpio_get_level(GPIO_USB_C1_PD_RST_L))
			status |= PD_STATUS_TCPC_ALERT_1;

	return status;
}

#ifdef CONFIG_USB_PD_VBUS_MEASURE_ADC_EACH_PORT
enum adc_channel board_get_vbus_adc(int port)
{
	/* Currently there is no option to select Joint ADC in zephyr config
	 * Hence using this workaround. TODO: Fix zephyr Kconfig.usbc.
	 */
	return ADC_VBUS;
}
#endif /* CONFIG_USB_PD_VBUS_MEASURE_ADC_EACH_PORT */
```
